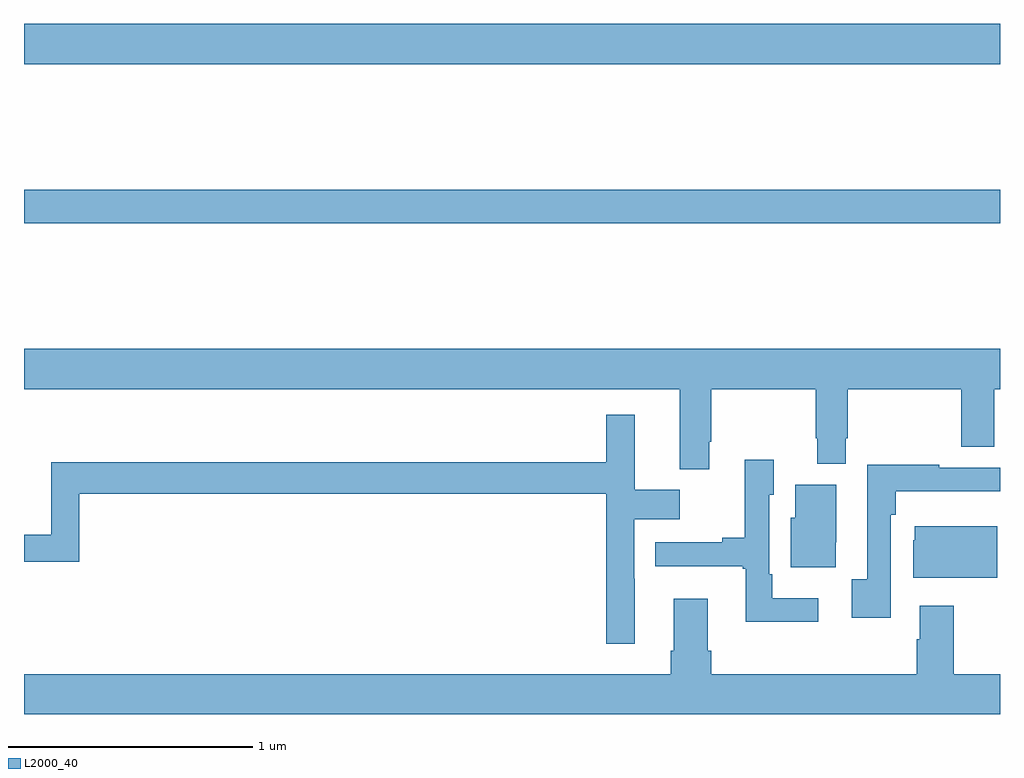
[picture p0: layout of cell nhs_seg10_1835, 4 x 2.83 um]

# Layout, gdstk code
import gdstk
lib = gdstk.Library(unit=1e-6, precision=1e-09)
def R(c, l, rs):  # rectangles x0, y0, x1, y1
    for r in rs: c.add(gdstk.rectangle(r[:2], r[2:], *l))
def P(c, l, *ps):  # polygons
    for p in ps: c.add(gdstk.Polygon(p, *l))
L2000_40 = (2000, 40)

nhs_seg10_1835 = lib.new_cell('nhs_seg10_1835')
R(nhs_seg10_1835, L2000_40, [(207,1300.996,211,1301.132), (207,1301.648,211,1301.812)])
P(nhs_seg10_1835, L2000_40, [(209.809,1300.099),(209.817,1300.099),(209.817,1300.316),(210.244,1300.316),(210.244,1300.114),(210.251,1300.114),(210.251,1300.009),(210.367,1300.009),(210.367,1300.114),(210.375,1300.114),(210.375,1300.316),(210.841,1300.316),(210.841,1300.08),(210.976,1300.08),(210.976,1300.316),(211,1300.316),(211,1300.48),(207,1300.48),(207,1300.316),(209.687,1300.316),(209.687,1299.987),(209.809,1299.987)],
  [(209.503,1299.539),(209.502,1299.539),(209.502,1299.782),(209.687,1299.782),(209.687,1299.904),(209.504,1299.904),(209.504,1300.21),(209.386,1300.21),(209.386,1300.015),(207.111,1300.015),(207.111,1299.718),(207,1299.718),(207,1299.609),(207.227,1299.609),(207.227,1299.886),(209.386,1299.886),(209.386,1299.273),(209.503,1299.273)],
  [(210.256,1299.459),(210.067,1299.459),(210.067,1299.556),(210.054,1299.556),(210.054,1299.882),(210.073,1299.882),(210.073,1300.027),(209.953,1300.027),(209.953,1299.707),(209.861,1299.707),(209.861,1299.687),(209.587,1299.687),(209.587,1299.59),(209.946,1299.59),(209.946,1299.579),(209.957,1299.579),(209.957,1299.362),(210.256,1299.362)],
  [(210.552,1299.8),(210.572,1299.8),(210.572,1299.896),(211,1299.896),(211,1299.993),(210.752,1299.993),(210.752,1300.006),(210.456,1300.006),(210.456,1299.537),(210.393,1299.537),(210.393,1299.378),(210.552,1299.378)],
  [(210.327,1299.688),(210.328,1299.688),(210.328,1299.924),(210.161,1299.924),(210.161,1299.789),(210.143,1299.789),(210.143,1299.585),(210.327,1299.585)],
  [(210.988,1299.754),(210.65,1299.754),(210.65,1299.696),(210.644,1299.696),(210.644,1299.542),(210.988,1299.542)],
  [(211,1299.148),(210.811,1299.148),(210.811,1299.427),(210.671,1299.427),(210.671,1299.29),(210.659,1299.29),(210.659,1299.148),(209.816,1299.148),(209.816,1299.244),(209.803,1299.244),(209.803,1299.457),(209.663,1299.457),(209.663,1299.244),(209.651,1299.244),(209.651,1299.148),(207,1299.148),(207,1298.984),(211,1298.984)])

lib.write_gds('nhs_seg10_1835.gds')
